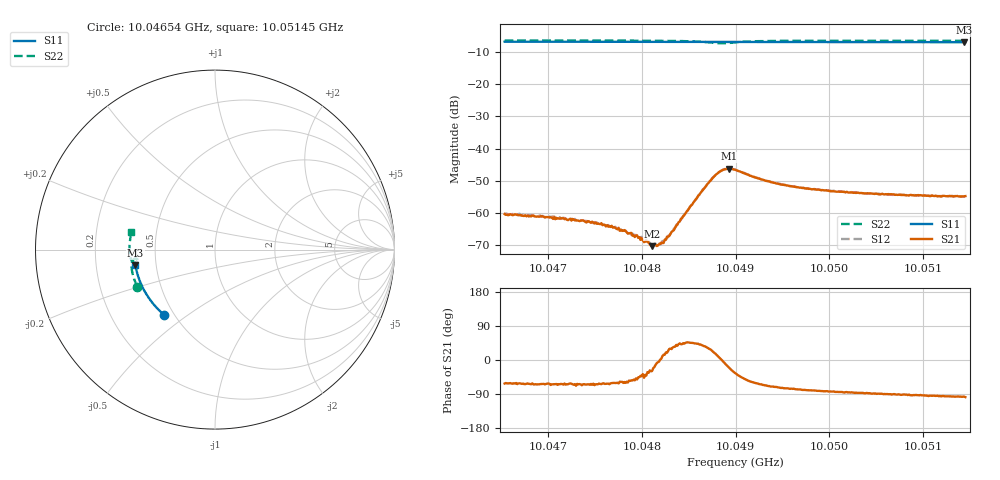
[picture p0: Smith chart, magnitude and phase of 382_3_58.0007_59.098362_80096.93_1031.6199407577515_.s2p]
#  HZ  S  RI  R  50.00
! Rohde & Schwarz Vector Network Analyzer
! Rohde-Schwarz,ZNB20-2Port,1311601062101988,3.16
! Created: UTC 3/21/2024, 1:07:23 AM
! freq[Hz]  re:S11  im:S11  re:S21  im:S21  re:S12  im:S12  re:S22  im:S22
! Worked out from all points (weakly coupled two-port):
!   401 points, 10.04654 GHz to 10.05145 GHz, reference 50 ohm
!   highest |S21| = -46.26 dB at 10.04893 GHz (marker M1); lowest = -70.3 dB at 10.04811 GHz (marker M2)
!   lowest |S11| = -6.9 dB at 10.05144 GHz (marker M3), VSWR 2.65, Z = 19 - j4.22 ohm
!   |S11| at or under -10 dB: nowhere
!   |S22| runs from -7.2 to -6.4 dB; largest |S21 - S12| = 0.00032
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1.0046535e10  -0.2851 -0.3618  0.000449 -0.00085  0.00052 -0.000826  -0.4338 -0.2071
1.0047039e10  -0.3099 -0.3394  0.000368 -0.000765  0.000466 -0.000741  -0.4464 -0.1757
1.0047359e10  -0.3246 -0.3244  0.000304 -0.000704  0.000348 -0.000687  -0.4534 -0.1548
1.0047519e10  -0.3318 -0.3166  0.000299 -0.000609  0.000373 -0.000607  -0.4564 -0.1443
1.0047802e10  -0.3438 -0.3023  0.000261 -0.000461  0.000321 -0.000435  -0.461 -0.1248
1.0047974e10  -0.351 -0.2935  0.000295 -0.000299  0.000329 -0.000294  -0.4635 -0.1123
1.0048109e10  -0.3565 -0.2864  0.000266 -0.000148  0.000329 -0.000135  -0.4648 -0.102
1.0048183e10  -0.3593 -0.2825  0.000324 -2.63e-05  0.000341 7.37e-06  -0.4652 -0.0962
1.004822e10  -0.3609 -0.2806  0.000337 6.11e-05  0.000358 8e-05  -0.4653 -0.0932
1.0048306e10  -0.3641 -0.2761  0.000409 0.000236  0.000396 0.000259  -0.4655 -0.086
1.0048625e10  -0.3759 -0.2584  0.00154 0.00134  0.00147 0.00142  -0.456 -0.0564
1.0048773e10  -0.381 -0.2503  0.00352 0.0012  0.00345 0.00144  -0.4384 -0.0505
1.0048847e10  -0.3831 -0.2462  0.00452 0.000128  0.00453 0.000384  -0.4305 -0.058
1.0048933e10  -0.3861 -0.2416  0.00455 -0.00172  0.00469 -0.00143  -0.4335 -0.0703
1.0048994e10  -0.3883 -0.2382  0.00389 -0.00265  0.00408 -0.00243  -0.4416 -0.074
1.0049351e10  -0.3996 -0.2177  0.00112 -0.0029  0.0013 -0.00284  -0.4696 -0.0492
1.0049572e10  -0.4062 -0.2046  0.000645 -0.00254  0.000801 -0.00253  -0.4741 -0.0308
1.0049818e10  -0.4128 -0.1899  0.000387 -0.00229  0.000543 -0.00228  -0.4759 -0.0122
1.0050199e10  -0.4221 -0.1667  0.000157 -0.00209  0.000286 -0.00209  -0.4764 0.0151
1.0050642e10  -0.4312 -0.1392  -6.91e-06 -0.00194  0.000115 -0.00195  -0.4746 0.0455
1.0051441e10  -0.4433 -0.0882  -0.000219 -0.00181  -0.000115 -0.00181  -0.466 0.0985
1.0051453e10  -0.4435 -0.0875  -0.000254 -0.00181  -0.000108 -0.00178  -0.4658 0.0991
